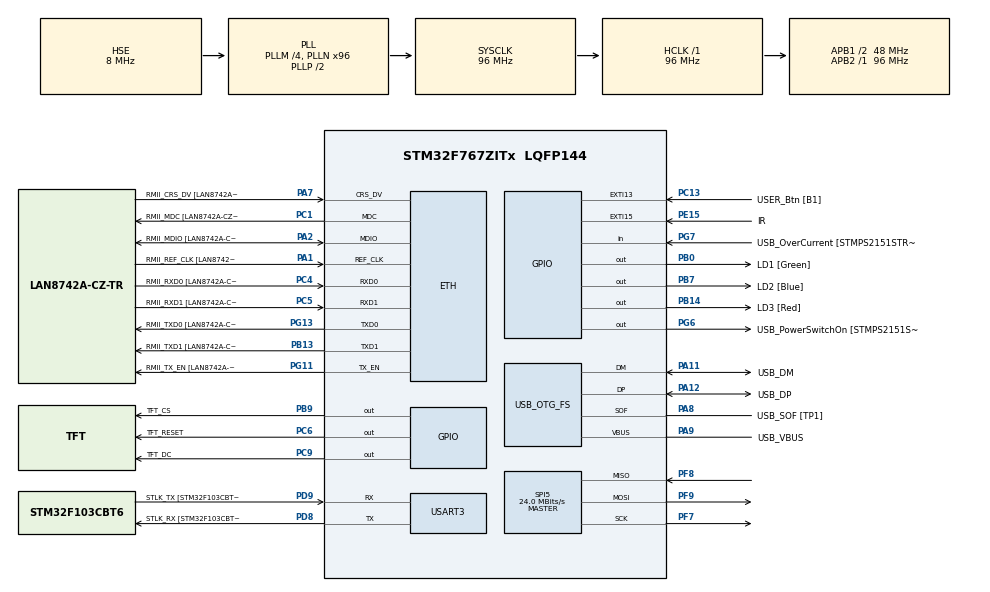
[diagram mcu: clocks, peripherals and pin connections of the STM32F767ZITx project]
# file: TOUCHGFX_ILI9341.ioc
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CORTEX_M7.CPU_DCache=Disabled
CORTEX_M7.CPU_ICache=Disabled
Dma.Request0=SPI5_TX
Dma.SPI5_TX.0.Direction=DMA_MEMORY_TO_PERIPH
Dma.SPI5_TX.0.FIFOMode=DMA_FIFOMODE_DISABLE
Dma.SPI5_TX.0.Instance=DMA2_Stream4
Dma.SPI5_TX.0.MemDataAlignment=DMA_MDATAALIGN_BYTE
Dma.SPI5_TX.0.MemInc=DMA_MINC_ENABLE
Dma.SPI5_TX.0.Mode=DMA_NORMAL
Dma.SPI5_TX.0.PeriphDataAlignment=DMA_PDATAALIGN_BYTE
Dma.SPI5_TX.0.PeriphInc=DMA_PINC_DISABLE
Dma.SPI5_TX.0.Priority=DMA_PRIORITY_LOW
ETH.MediaInterface=HAL_ETH_RMII_MODE
ETH.PHY_Name=LAN8742A_PHY_ADDRESS
ETH.PHY_Value=0
ETH.PhyAddress=0
Mcu.Family=STM32F7
Mcu.Name=STM32F767ZITx
Mcu.Package=LQFP144
NVIC.DMA2_Stream4_IRQn=true\:0\:0\:false\:false\:true\:false\:true\:true
NVIC.EXTI15_10_IRQn=true\:0\:0\:false\:false\:true\:true\:true\:true
NVIC.PriorityGroup=NVIC_PRIORITYGROUP_4
NVIC.SPI5_IRQn=true\:0\:0\:false\:false\:true\:true\:true\:true
NVIC.TIM2_IRQn=true\:0\:0\:false\:false\:true\:true\:true\:true
PA1.GPIO_Label=RMII_REF_CLK [LAN8742A-CZ-TR_REFCLK0]
PA1.Mode=RMII
PA1.Signal=ETH_REF_CLK
PA10.GPIO_Label=USB_ID
PA10.Signal=USB_OTG_FS_ID
PA11.GPIO_Label=USB_DM
PA11.Mode=Device_Only
PA11.Signal=USB_OTG_FS_DM
PA12.GPIO_Label=USB_DP
PA12.Mode=Device_Only
PA12.Signal=USB_OTG_FS_DP
PA13.GPIO_Label=TMS
PA13.Mode=Serial_Wire
PA13.Signal=SYS_JTMS-SWDIO
PA14.GPIO_Label=TCK
PA14.Mode=Serial_Wire
PA14.Signal=SYS_JTCK-SWCLK
PA2.GPIO_Label=RMII_MDIO [LAN8742A-CZ-TR_MDIO]
PA2.Mode=RMII
PA2.Signal=ETH_MDIO
PA7.GPIO_Label=RMII_CRS_DV [LAN8742A-CZ-TR_CRS_DV]
PA7.Mode=RMII
PA7.Signal=ETH_CRS_DV
PA8.GPIO_Label=USB_SOF [TP1]
PA8.Mode=Activate_SOF_FS
PA8.Signal=USB_OTG_FS_SOF
PA9.GPIO_Label=USB_VBUS
PA9.Mode=Activate_VBUS
PA9.Signal=USB_OTG_FS_VBUS
PB0.GPIO_Label=LD1 [Green]
PB0.Signal=GPIO_Output
PB13.GPIO_Label=RMII_TXD1 [LAN8742A-CZ-TR_TXD1]
PB13.Mode=RMII
PB13.Signal=ETH_TXD1
PB14.GPIO_Label=LD3 [Red]
PB14.Signal=GPIO_Output
PB3.GPIO_Label=SWO
PB3.Signal=SYS_JTDO-SWO
PB7.GPIO_Label=LD2 [Blue]
PB7.Signal=GPIO_Output
PB9.GPIO_Label=TFT_CS
PB9.PinState=GPIO_PIN_SET
PB9.Signal=GPIO_Output
PC1.GPIO_Label=RMII_MDC [LAN8742A-CZ-TR_MDC]
PC1.Mode=RMII
PC1.Signal=ETH_MDC
PC13.GPIO_Label=USER_Btn [B1]
PC13.Signal=GPXTI13
PC14/OSC32_IN.Mode=LSE-External-Oscillator
PC14/OSC32_IN.Signal=RCC_OSC32_IN
PC15/OSC32_OUT.Mode=LSE-External-Oscillator
PC15/OSC32_OUT.Signal=RCC_OSC32_OUT
PC4.GPIO_Label=RMII_RXD0 [LAN8742A-CZ-TR_RXD0]
PC4.Mode=RMII
PC4.Signal=ETH_RXD0
PC5.GPIO_Label=RMII_RXD1 [LAN8742A-CZ-TR_RXD1]
PC5.Mode=RMII
PC5.Signal=ETH_RXD1
PC6.GPIO_Label=TFT_RESET
PC6.Signal=GPIO_Output
PC9.GPIO_Label=TFT_DC
PC9.Signal=GPIO_Output
PD8.GPIO_Label=STLK_RX [STM32F103CBT6_PA3]
PD8.Mode=Asynchronous
PD8.Signal=USART3_TX
PD9.GPIO_Label=STLK_TX [STM32F103CBT6_PA2]
PD9.Mode=Asynchronous
PD9.Signal=USART3_RX
PE15.GPIO_Label=IR
PE15.GPIO_ModeDefaultEXTI=GPIO_MODE_IT_RISING_FALLING
PE15.Signal=GPXTI15
PF7.Mode=Full_Duplex_Master
PF7.Signal=SPI5_SCK
PF8.Mode=Full_Duplex_Master
PF8.Signal=SPI5_MISO
PF9.Mode=Full_Duplex_Master
PF9.Signal=SPI5_MOSI
PG11.GPIO_Label=RMII_TX_EN [LAN8742A-CZ-TR_TXEN]
PG11.Mode=RMII
PG11.Signal=ETH_TX_EN
PG13.GPIO_Label=RMII_TXD0 [LAN8742A-CZ-TR_TXD0]
PG13.Mode=RMII
PG13.Signal=ETH_TXD0
PG6.GPIO_Label=USB_PowerSwitchOn [STMPS2151STR_EN]
PG6.Signal=GPIO_Output
PG7.GPIO_Label=USB_OverCurrent [STMPS2151STR_FAULT]
PG7.Signal=GPIO_Input
PH0/OSC_IN.GPIO_Label=MCO [STM32F103CBT6_PA8]
PH0/OSC_IN.Mode=HSE-External-Clock-Source
PH0/OSC_IN.Signal=RCC_OSC_IN
PH1/OSC_OUT.Mode=HSE-External-Clock-Source
PH1/OSC_OUT.Signal=RCC_OSC_OUT
ProjectManager.HeapSize=0x200
ProjectManager.StackSize=0x400
ProjectManager.TargetToolchain=MDK-ARM V5.32
RCC.48MHZClocksFreq_Value=24000000
RCC.AHBFreq_Value=96000000
RCC.APB1CLKDivider=RCC_HCLK_DIV2
RCC.APB1Freq_Value=48000000
RCC.APB1TimFreq_Value=96000000
RCC.APB2Freq_Value=96000000
RCC.APB2TimFreq_Value=96000000
RCC.CortexFreq_Value=96000000
RCC.HCLKFreq_Value=96000000
RCC.HSE_VALUE=8000000
RCC.HSI_VALUE=16000000
RCC.PLLM=4
RCC.PLLMUL=RCC_PLL_MUL9
RCC.PLLN=96
RCC.PLLQ=4
RCC.PRESCALERUSB=RCC_USBCLKSOURCE_PLL_DIV1_5
RCC.SYSCLKFreq_VALUE=96000000
RCC.SYSCLKSource=RCC_SYSCLKSOURCE_PLLCLK
RCC.SYSCLKSourceVirtual=RCC_SYSCLKSOURCE_PLLCLK
RCC.USBFreq_Value=48000000
RCC.VCOOutputFreq_Value=192000000
SPI5.BaudRatePrescaler=SPI_BAUDRATEPRESCALER_4
SPI5.CalculateBaudRate=24.0 MBits/s
SPI5.DataSize=SPI_DATASIZE_8BIT
SPI5.Direction=SPI_DIRECTION_2LINES
SPI5.Mode=SPI_MODE_MASTER
SPI5.VirtualType=VM_MASTER
STMicroelectronics.X-CUBE-TOUCHGFX.4.20.0.ApplicationCcGraphicsJjApplication=TouchGFXOoGenerator
STMicroelectronics.X-CUBE-TOUCHGFX.4.20.0.tgfx_block_size=25600
STMicroelectronics.X-CUBE-TOUCHGFX.4.20.0.tgfx_buffering_strategy=Partial
STMicroelectronics.X-CUBE-TOUCHGFX.4.20.0.tgfx_custom_height=240
STMicroelectronics.X-CUBE-TOUCHGFX.4.20.0.tgfx_custom_width=320
STMicroelectronics.X-CUBE-TOUCHGFX.4.20.0_IsPackSelfContextualization=true
TIM2.Period=15
TIM2.Prescaler=20999
USART3.VirtualMode-Asynchronous=VM_ASYNC
USB_OTG_FS.VirtualMode=Device_Only
VP_CRC_VS_CRC.Mode=CRC_Activate
VP_STMicroelectronics.X-CUBE-TOUCHGFX_VS_GraphicsJjApplication_4.20.0.Mode=GraphicsJjApplication
VP_TIM2_VS_ClockSourceINT.Mode=Internal
board=NUCLEO-F767ZI

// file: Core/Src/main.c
/* USER CODE BEGIN Header */
/**
  ******************************************************************************
  * @file           : main.c
  * @brief          : Main program body
  ******************************************************************************
  * @attention
  *
  * Copyright (c) 2022 STMicroelectronics.
  * All rights reserved.
  *
  * This software is licensed under terms that can be found in the LICENSE file
  * in the root directory of this software component.
  * If no LICENSE file comes with this software, it is provided AS-IS.
  *
  ******************************************************************************
  */
/* USER CODE END Header */
#include "main.h"
#include "crc.h"
#include "dma.h"
#include "eth.h"
#include "spi.h"
#include "tim.h"
#include "usart.h"
#include "usb_otg.h"
#include "gpio.h"
#include "app_touchgfx.h"
#include "stm32f7xx_hal.h"

/* USER CODE BEGIN Includes */
#include "core.h"
#include "dwt_stm32_delay.h"
#include "IR_RC5.h"
/* USER CODE END Includes */

void SystemClock_Config(void);
/* USER CODE BEGIN PFP */
uint16_t Volume = 0;

/* USER CODE END PFP */

/* USER CODE BEGIN 0 */
extern void touchgfxSignalVSync(void);

void HAL_TIM_PeriodElapsedCallback(TIM_HandleTypeDef *htim)
{
	if (htim->Instance == TIM2) {
		touchgfxSignalVSync();  //i'am dk why but i turned off the vSync in Cube but i still have to get infi :/
	}
}
/* USER CODE END 0 */

int main(void)
{

  /* MCU Configuration--------------------------------------------------------*/

  /* Reset of all peripherals, Initializes the Flash interface and the Systick. */
  HAL_Init();

  /* Configure the system clock */
  SystemClock_Config();

  /* Initialize all configured peripherals */
  MX_GPIO_Init();
  MX_DMA_Init();
  MX_ETH_Init();
  MX_SPI5_Init();
  MX_USART3_UART_Init();
  MX_USB_OTG_FS_PCD_Init();
  MX_CRC_Init();
  MX_TIM2_Init();
  MX_TouchGFX_Init();
  /* USER CODE BEGIN 2 */
  HAL_Delay(200);
	HAL_TIM_Base_Start_IT(&htim2);
	DWT_Delay_Init ();
	IR_RC5_Init();
  ILI9341_Init();
	touchgfxSignalVSync();

  /* USER CODE END 2 */

  /* Infinite loop */
  /* USER CODE BEGIN WHILE */
  while (1)
  {
		if ( DWT->CYCCNT > 714603211)
		{
			DWT->CYCCNT = 0;
		}
    /* USER CODE END WHILE */
  MX_TouchGFX_Process();
  }
}

void SystemClock_Config(void)
{
  RCC_OscInitTypeDef RCC_OscInitStruct = {0};
  RCC_ClkInitTypeDef RCC_ClkInitStruct = {0};

  /** Configure LSE Drive Capability
  */
  HAL_PWR_EnableBkUpAccess();

  /** Configure the main internal regulator output voltage
  */
  __HAL_RCC_PWR_CLK_ENABLE();
  __HAL_PWR_VOLTAGESCALING_CONFIG(PWR_REGULATOR_VOLTAGE_SCALE3);

  /** Initializes the RCC Oscillators according to the specified parameters
  * in the RCC_OscInitTypeDef structure.
  */
  RCC_OscInitStruct.OscillatorType = RCC_OSCILLATORTYPE_HSE;
  RCC_OscInitStruct.HSEState = RCC_HSE_BYPASS;
  RCC_OscInitStruct.PLL.PLLState = RCC_PLL_ON;
  RCC_OscInitStruct.PLL.PLLSource = RCC_PLLSOURCE_HSE;
  RCC_OscInitStruct.PLL.PLLM = 4;
  RCC_OscInitStruct.PLL.PLLN = 96;
  RCC_OscInitStruct.PLL.PLLP = RCC_PLLP_DIV2;
  RCC_OscInitStruct.PLL.PLLQ = 4;
  RCC_OscInitStruct.PLL.PLLR = 2;
  if (HAL_RCC_OscConfig(&RCC_OscInitStruct) != HAL_OK)
  {
    Error_Handler();
  }

  /** Activate the Over-Drive mode
  */
  if (HAL_PWREx_EnableOverDrive() != HAL_OK)
  {
    Error_Handler();
  }

  /** Initializes the CPU, AHB and APB buses clocks
  */
  RCC_ClkInitStruct.ClockType = RCC_CLOCKTYPE_HCLK|RCC_CLOCKTYPE_SYSCLK
                              |RCC_CLOCKTYPE_PCLK1|RCC_CLOCKTYPE_PCLK2;
  RCC_ClkInitStruct.SYSCLKSource = RCC_SYSCLKSOURCE_PLLCLK;
  RCC_ClkInitStruct.AHBCLKDivider = RCC_SYSCLK_DIV1;
  RCC_ClkInitStruct.APB1CLKDivider = RCC_HCLK_DIV2;
  RCC_ClkInitStruct.APB2CLKDivider = RCC_HCLK_DIV1;

  if (HAL_RCC_ClockConfig(&RCC_ClkInitStruct, FLASH_LATENCY_3) != HAL_OK)
  {
    Error_Handler();
  }
}

/* USER CODE BEGIN 4 */
void HAL_GPIO_EXTI_Callback(uint16_t GPIO_Pin)
	{
		Volume = Decode_RC5();

		/*
		HAL_GPIO_WritePin(LD3_GPIO_Port, LD3_Pin, GPIO_PIN_SET);
		cycle_micro = (DWT->CYCCNT - clk_cycle_start);
		if ( (i == 14) || cycle_micro > 10921920)
		{
			i = 0;
			//HAL_GPIO_WritePin(LD2_GPIO_Port, LD2_Pin, GPIO_PIN_SET);
			if( code == 0x2FBC || code == 0x0FBC)
				{
					volume++;
					HAL_GPIO_WritePin(LD1_GPIO_Port, LD1_Pin, GPIO_PIN_SET);
					HAL_GPIO_WritePin(LD2_GPIO_Port, LD2_Pin, GPIO_PIN_RESET);
				}else if(code == 0x2FB8 || code == 0x0FB8)
					{
						volume--;
						HAL_GPIO_WritePin(LD2_GPIO_Port, LD2_Pin, GPIO_PIN_SET);
						HAL_GPIO_WritePin(LD1_GPIO_Port, LD1_Pin, GPIO_PIN_RESET);
					}

			for (int i2=0; i2<16; i2++)
			{
				code &= ~(1UL << (16-i2));
			}
			if (volume > 100 )
				{
					volume = 100;
				}else if(volume == 0)
					{
						volume = 0;
					}
		}

		if ( cycle_micro > microseconds)
		{
			DWT->CYCCNT = 0;
			clk_cycle_start =0;
			detection = 0;
		}
		if ((detection == 0 ) & (HAL_GPIO_ReadPin(GPIOE, GPIO_PIN_15) == 1 ))
	{
		code |= (1UL << (15-i)); // write 1
		i++;
		detection = 1;
		clk_cycle_start = DWT->CYCCNT;
	}

	if ((detection == 0 ) & (HAL_GPIO_ReadPin(GPIOE, GPIO_PIN_15) == 0 ))
	{
		code &= ~(1UL << (15-i)); // write 0
		i++;
		detection = 1;
		clk_cycle_start = DWT->CYCCNT;
	}

	//DWT_Delay_us (2000);
	//HAL_Delay(2);
	*/

}
/* USER CODE END 4 */

void Error_Handler(void)
{
  __disable_irq();
  while (1)
  {
  }
}
